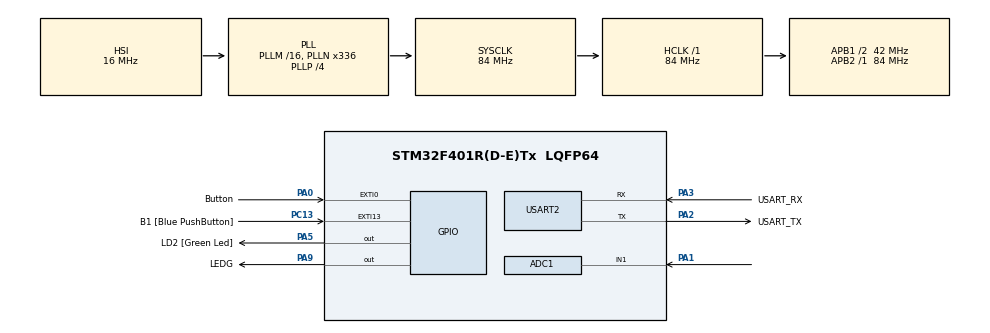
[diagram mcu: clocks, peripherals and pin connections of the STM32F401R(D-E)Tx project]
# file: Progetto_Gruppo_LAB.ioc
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ADC1.Channel-1\#ChannelRegularConversion=ADC_CHANNEL_1
ADC1.ContinuousConvMode=ENABLE
ADC1.NbrOfConversionFlag=1
ADC1.Rank-1\#ChannelRegularConversion=1
ADC1.SamplingTime-1\#ChannelRegularConversion=ADC_SAMPLETIME_3CYCLES
ADC1.master=1
Mcu.Family=STM32F4
Mcu.Name=STM32F401R(D-E)Tx
Mcu.Package=LQFP64
NVIC.EXTI0_IRQn=true\:0\:0\:false\:false\:true\:true\:true\:true
NVIC.PriorityGroup=NVIC_PRIORITYGROUP_0
NVIC.TIM2_IRQn=true\:0\:0\:false\:false\:true\:true\:true\:true
NVIC.TIM3_IRQn=true\:0\:0\:false\:false\:true\:true\:true\:true
PA0-WKUP.GPIO_Label=Button
PA0-WKUP.Signal=GPXTI0
PA1.Signal=ADCx_IN1
PA13.GPIO_Label=TMS
PA13.Signal=SYS_JTMS-SWDIO
PA14.GPIO_Label=TCK
PA14.Signal=SYS_JTCK-SWCLK
PA2.GPIO_Label=USART_TX
PA2.GPIO_Mode=GPIO_MODE_AF_PP
PA2.GPIO_PuPd=GPIO_NOPULL
PA2.GPIO_Speed=GPIO_SPEED_FREQ_LOW
PA2.Mode=Asynchronous
PA2.Signal=USART2_TX
PA3.GPIO_Label=USART_RX
PA3.GPIO_Mode=GPIO_MODE_AF_PP
PA3.GPIO_PuPd=GPIO_NOPULL
PA3.GPIO_Speed=GPIO_SPEED_FREQ_LOW
PA3.Mode=Asynchronous
PA3.Signal=USART2_RX
PA5.GPIO_Label=LD2 [Green Led]
PA5.GPIO_Mode=GPIO_MODE_OUTPUT_PP
PA5.GPIO_PuPd=GPIO_NOPULL
PA5.GPIO_Speed=GPIO_SPEED_FREQ_LOW
PA5.Signal=GPIO_Output
PA9.GPIO_Label=LEDG
PA9.Signal=GPIO_Output
PB3.GPIO_Label=SWO
PB3.Signal=SYS_JTDO-SWO
PC13-ANTI_TAMP.GPIO_Label=B1 [Blue PushButton]
PC13-ANTI_TAMP.GPIO_ModeDefaultEXTI=GPIO_MODE_IT_FALLING
PC13-ANTI_TAMP.GPIO_PuPd=GPIO_NOPULL
PC13-ANTI_TAMP.Signal=GPXTI13
PC14-OSC32_IN.Mode=LSE-External-Oscillator
PC14-OSC32_IN.Signal=RCC_OSC32_IN
PC15-OSC32_OUT.Mode=LSE-External-Oscillator
PC15-OSC32_OUT.Signal=RCC_OSC32_OUT
PH0\ -\ OSC_IN.Mode=HSE-External-Oscillator
PH0\ -\ OSC_IN.Signal=RCC_OSC_IN
PH1\ -\ OSC_OUT.Mode=HSE-External-Oscillator
PH1\ -\ OSC_OUT.Signal=RCC_OSC_OUT
ProjectManager.HeapSize=0x200
ProjectManager.StackSize=0x400
ProjectManager.TargetToolchain=STM32CubeIDE
RCC.AHBFreq_Value=84000000
RCC.APB1CLKDivider=RCC_HCLK_DIV2
RCC.APB1Freq_Value=42000000
RCC.APB1TimFreq_Value=84000000
RCC.APB2Freq_Value=84000000
RCC.APB2TimFreq_Value=84000000
RCC.CortexFreq_Value=84000000
RCC.HCLKFreq_Value=84000000
RCC.HSE_VALUE=8000000
RCC.HSI_VALUE=16000000
RCC.PLLN=336
RCC.PLLP=RCC_PLLP_DIV4
RCC.PLLQ=7
RCC.SYSCLKFreq_VALUE=84000000
RCC.SYSCLKSource=RCC_SYSCLKSOURCE_PLLCLK
RCC.VCOOutputFreq_Value=336000000
SH.ADCx_IN1.0=ADC1_IN1,IN1
TIM2.AutoReloadPreload=TIM_AUTORELOAD_PRELOAD_DISABLE
TIM2.Period=16799
TIM2.Prescaler=9999
TIM3.AutoReloadPreload=TIM_AUTORELOAD_PRELOAD_DISABLE
TIM3.Period=25199
TIM3.Prescaler=9999
TIM4.Prescaler=9999
USART2.VirtualMode=VM_ASYNC
VP_TIM2_VS_ClockSourceINT.Mode=Internal
VP_TIM3_VS_ClockSourceINT.Mode=Internal
VP_TIM4_VS_ClockSourceINT.Mode=Internal
board=NUCLEO-F401RE

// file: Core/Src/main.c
/* USER CODE BEGIN Header */
/**
 ******************************************************************************
 * @file           : main.c
 * @brief          : Main program body
 ******************************************************************************
 * @attention
 *
 * Copyright (c) 2025 STMicroelectronics.
 * All rights reserved.
 *
 * This software is licensed under terms that can be found in the LICENSE file
 * in the root directory of this software component.
 * If no LICENSE file comes with this software, it is provided AS-IS.
 *
 ******************************************************************************
 */
/* USER CODE END Header */
#include "main.h"

/* USER CODE BEGIN Includes */
#include "stdlib.h"
#include "string.h"
#include "stdio.h"
#include "stm32f4xx_it.h"
#include "math.h"
/* USER CODE END Includes */

ADC_HandleTypeDef hadc1;

TIM_HandleTypeDef htim2;
TIM_HandleTypeDef htim3;
TIM_HandleTypeDef htim4;

UART_HandleTypeDef huart2;

/* USER CODE BEGIN PV */
char bufferTx[200] = "";
uint8_t a = 0;
float timeout1 = 1;
float CP1 = 8399;
float PSC1 = 9999;
uint32_t risultati[5] = {0};
uint8_t vittoria = 0;
unsigned int uiAnalogData = 0;
double sogliams = 0;;
double punteggio = 0;
double somma = 0;
/* USER CODE END PV */

void SystemClock_Config(void);
static void MX_GPIO_Init(void);
static void MX_TIM2_Init(void);
static void MX_ADC1_Init(void);
static void MX_USART2_UART_Init(void);
static void MX_TIM3_Init(void);
static void MX_TIM4_Init(void);

int main(void)
{

  /* MCU Configuration--------------------------------------------------------*/

  /* Reset of all peripherals, Initializes the Flash interface and the Systick. */
  HAL_Init();

  /* Configure the system clock */
  SystemClock_Config();

  /* Initialize all configured peripherals */
  MX_GPIO_Init();
  MX_TIM2_Init();
  MX_ADC1_Init();
  MX_USART2_UART_Init();
  MX_TIM3_Init();
  MX_TIM4_Init();
  /* USER CODE BEGIN 2 */

	if (__HAL_PWR_GET_FLAG(PWR_FLAG_SB) != RESET)
	{
		__HAL_PWR_CLEAR_FLAG(PWR_FLAG_SB);  // clear the flag

		/** ESCO DALLA MODALITA' STANDBY **/
		sprintf(bufferTx, "Avvio, LD2 lampeggerà dopodichè inizierà la prova.\r\n");
		HAL_UART_Transmit(&huart2, (uint8_t *)bufferTx, strlen (bufferTx), 1000);

		/** Blink the LED **/
		for (int i=0; i<20; i++)
		{
			HAL_GPIO_TogglePin(GPIOA, GPIO_PIN_5);
			HAL_Delay(200);
		}

		/** DISABILITO IL WAKEUP PIN **/
		HAL_PWR_DisableWakeUpPin(PWR_WAKEUP_PIN1);  // disable PA0

	}
	HAL_TIM_Base_Start_IT(&htim2);
	HAL_TIM_Base_Start_IT(&htim4);

	HAL_GPIO_WritePin(LEDG_GPIO_Port, LEDG_Pin, GPIO_PIN_RESET); // resetto il LED a "spento"
	srand(HAL_GetTick()); // seed random

	HAL_ADC_Start(&hadc1);
	HAL_ADC_PollForConversion(&hadc1, 100);  // ACQUISISCO DAL PIN PA1 E USO IL VALORE IN DIGITALE PER IMPOSTARE LA SOGLIA DI DIFFICOLTA'
	uiAnalogData = HAL_ADC_GetValue(&hadc1);
	HAL_ADC_Stop(&hadc1);

	if(uiAnalogData > 3000){
		sprintf(bufferTx, "Difficoltà selezionata: ALTA\r\n");
		HAL_UART_Transmit(&huart2, (uint8_t *)bufferTx, strlen(bufferTx), 1000);
		sogliams = 250;
	}
	else if (uiAnalogData > 1300){
		sprintf(bufferTx, "Difficoltà selezionata: MEDIA\r\n");
		HAL_UART_Transmit(&huart2, (uint8_t *)bufferTx, strlen(bufferTx), 1000);
		sogliams = 400;
	}
	else {
		sprintf(bufferTx, "Difficoltà selezionata: BASSA\r\n");
		HAL_UART_Transmit(&huart2, (uint8_t *)bufferTx, strlen(bufferTx), 1000);
		sogliams = 800;
	}

  /* USER CODE END 2 */

  /* Infinite loop */
  /* USER CODE BEGIN WHILE */
	while (1)
	{

		sprintf(bufferTx, "Sessione iniziata! \r\n");
		HAL_UART_Transmit(&huart2, (uint8_t *)bufferTx, strlen(bufferTx), 100);

		// Entra in sleep e si sveglia con interrupt timer2, timer3 o interrupt esterno sul pin PA10
		HAL_SuspendTick();
		HAL_PWR_EnableSleepOnExit();
		HAL_PWR_EnterSLEEPMode(PWR_MAINREGULATOR_ON, PWR_SLEEPENTRY_WFI);

		// se si supera il timeout di 3 secondi, si completa la prova o si preme il pulsante troppo presto
		// ci si sveglia permanentemente dalla modalità sleep e si esegue un codice comune ai 3 casi mandando in STANDBY il dispositivo
		HAL_ResumeTick();
		sprintf(bufferTx, "Sessione terminata, vado in standby.\r\n");
		HAL_UART_Transmit(&huart2, (uint8_t *)bufferTx, strlen(bufferTx), 100);

		if(vittoria == 1){
			for (int i = 0; i < 5; i++)
			{
				sprintf(bufferTx, "Tempo %u° prova = %lu ms\r\n", i+1, risultati[i]);
				HAL_UART_Transmit(&huart2, (uint8_t*)bufferTx, strlen(bufferTx), 100);

			}

			sprintf(bufferTx, "Media = %2.2f ms.\r\n", somma/5);
			HAL_UART_Transmit(&huart2, (uint8_t *)bufferTx, strlen(bufferTx), 100);

			sprintf(bufferTx, "Hai ottenuto un punteggio totale di: %d. \r\n",(int)round(punteggio));
			HAL_UART_Transmit(&huart2, (uint8_t*)bufferTx, strlen(bufferTx), 100);
		}

		HAL_PWR_EnableWakeUpPin(PWR_WAKEUP_PIN1);

		__HAL_PWR_CLEAR_FLAG(PWR_FLAG_WU);

		HAL_PWR_EnterSTANDBYMode();

    /* USER CODE END WHILE */

	}
}

void SystemClock_Config(void)
{
  RCC_OscInitTypeDef RCC_OscInitStruct = {0};
  RCC_ClkInitTypeDef RCC_ClkInitStruct = {0};

  /** Configure the main internal regulator output voltage
  */
  __HAL_RCC_PWR_CLK_ENABLE();
  __HAL_PWR_VOLTAGESCALING_CONFIG(PWR_REGULATOR_VOLTAGE_SCALE2);

  /** Initializes the RCC Oscillators according to the specified parameters
  * in the RCC_OscInitTypeDef structure.
  */
  RCC_OscInitStruct.OscillatorType = RCC_OSCILLATORTYPE_HSI;
  RCC_OscInitStruct.HSIState = RCC_HSI_ON;
  RCC_OscInitStruct.HSICalibrationValue = RCC_HSICALIBRATION_DEFAULT;
  RCC_OscInitStruct.PLL.PLLState = RCC_PLL_ON;
  RCC_OscInitStruct.PLL.PLLSource = RCC_PLLSOURCE_HSI;
  RCC_OscInitStruct.PLL.PLLM = 16;
  RCC_OscInitStruct.PLL.PLLN = 336;
  RCC_OscInitStruct.PLL.PLLP = RCC_PLLP_DIV4;
  RCC_OscInitStruct.PLL.PLLQ = 7;
  if (HAL_RCC_OscConfig(&RCC_OscInitStruct) != HAL_OK)
  {
    Error_Handler();
  }

  /** Initializes the CPU, AHB and APB buses clocks
  */
  RCC_ClkInitStruct.ClockType = RCC_CLOCKTYPE_HCLK|RCC_CLOCKTYPE_SYSCLK
                              |RCC_CLOCKTYPE_PCLK1|RCC_CLOCKTYPE_PCLK2;
  RCC_ClkInitStruct.SYSCLKSource = RCC_SYSCLKSOURCE_PLLCLK;
  RCC_ClkInitStruct.AHBCLKDivider = RCC_SYSCLK_DIV1;
  RCC_ClkInitStruct.APB1CLKDivider = RCC_HCLK_DIV2;
  RCC_ClkInitStruct.APB2CLKDivider = RCC_HCLK_DIV1;

  if (HAL_RCC_ClockConfig(&RCC_ClkInitStruct, FLASH_LATENCY_2) != HAL_OK)
  {
    Error_Handler();
  }
}

static void MX_ADC1_Init(void)
{

  ADC_ChannelConfTypeDef sConfig = {0};

  /** Configure the global features of the ADC (Clock, Resolution, Data Alignment and number of conversion)
  */
  hadc1.Instance = ADC1;
  hadc1.Init.ClockPrescaler = ADC_CLOCK_SYNC_PCLK_DIV4;
  hadc1.Init.Resolution = ADC_RESOLUTION_12B;
  hadc1.Init.ScanConvMode = DISABLE;
  hadc1.Init.ContinuousConvMode = ENABLE;
  hadc1.Init.DiscontinuousConvMode = DISABLE;
  hadc1.Init.ExternalTrigConvEdge = ADC_EXTERNALTRIGCONVEDGE_NONE;
  hadc1.Init.ExternalTrigConv = ADC_SOFTWARE_START;
  hadc1.Init.DataAlign = ADC_DATAALIGN_RIGHT;
  hadc1.Init.NbrOfConversion = 1;
  hadc1.Init.DMAContinuousRequests = DISABLE;
  hadc1.Init.EOCSelection = ADC_EOC_SINGLE_CONV;
  if (HAL_ADC_Init(&hadc1) != HAL_OK)
  {
    Error_Handler();
  }

  /** Configure for the selected ADC regular channel its corresponding rank in the sequencer and its sample time.
  */
  sConfig.Channel = ADC_CHANNEL_1;
  sConfig.Rank = 1;
  sConfig.SamplingTime = ADC_SAMPLETIME_3CYCLES;
  if (HAL_ADC_ConfigChannel(&hadc1, &sConfig) != HAL_OK)
  {
    Error_Handler();
  }

}

static void MX_TIM2_Init(void)
{

  TIM_ClockConfigTypeDef sClockSourceConfig = {0};
  TIM_MasterConfigTypeDef sMasterConfig = {0};

  htim2.Instance = TIM2;
  htim2.Init.Prescaler = 9999;
  htim2.Init.CounterMode = TIM_COUNTERMODE_UP;
  htim2.Init.Period = 16799;
  htim2.Init.ClockDivision = TIM_CLOCKDIVISION_DIV1;
  htim2.Init.AutoReloadPreload = TIM_AUTORELOAD_PRELOAD_DISABLE;
  if (HAL_TIM_Base_Init(&htim2) != HAL_OK)
  {
    Error_Handler();
  }
  sClockSourceConfig.ClockSource = TIM_CLOCKSOURCE_INTERNAL;
  if (HAL_TIM_ConfigClockSource(&htim2, &sClockSourceConfig) != HAL_OK)
  {
    Error_Handler();
  }
  sMasterConfig.MasterOutputTrigger = TIM_TRGO_RESET;
  sMasterConfig.MasterSlaveMode = TIM_MASTERSLAVEMODE_DISABLE;
  if (HAL_TIMEx_MasterConfigSynchronization(&htim2, &sMasterConfig) != HAL_OK)
  {
    Error_Handler();
  }

}

static void MX_TIM3_Init(void)
{

  TIM_ClockConfigTypeDef sClockSourceConfig = {0};
  TIM_MasterConfigTypeDef sMasterConfig = {0};

  htim3.Instance = TIM3;
  htim3.Init.Prescaler = 9999;
  htim3.Init.CounterMode = TIM_COUNTERMODE_UP;
  htim3.Init.Period = 25199;
  htim3.Init.ClockDivision = TIM_CLOCKDIVISION_DIV1;
  htim3.Init.AutoReloadPreload = TIM_AUTORELOAD_PRELOAD_DISABLE;
  if (HAL_TIM_Base_Init(&htim3) != HAL_OK)
  {
    Error_Handler();
  }
  sClockSourceConfig.ClockSource = TIM_CLOCKSOURCE_INTERNAL;
  if (HAL_TIM_ConfigClockSource(&htim3, &sClockSourceConfig) != HAL_OK)
  {
    Error_Handler();
  }
  sMasterConfig.MasterOutputTrigger = TIM_TRGO_RESET;
  sMasterConfig.MasterSlaveMode = TIM_MASTERSLAVEMODE_DISABLE;
  if (HAL_TIMEx_MasterConfigSynchronization(&htim3, &sMasterConfig) != HAL_OK)
  {
    Error_Handler();
  }

}

static void MX_TIM4_Init(void)
{

  TIM_ClockConfigTypeDef sClockSourceConfig = {0};
  TIM_MasterConfigTypeDef sMasterConfig = {0};

  htim4.Instance = TIM4;
  htim4.Init.Prescaler = 9999;
  htim4.Init.CounterMode = TIM_COUNTERMODE_UP;
  htim4.Init.Period = 65535;
  htim4.Init.ClockDivision = TIM_CLOCKDIVISION_DIV1;
  htim4.Init.AutoReloadPreload = TIM_AUTORELOAD_PRELOAD_DISABLE;
  if (HAL_TIM_Base_Init(&htim4) != HAL_OK)
  {
    Error_Handler();
  }
  sClockSourceConfig.ClockSource = TIM_CLOCKSOURCE_INTERNAL;
  if (HAL_TIM_ConfigClockSource(&htim4, &sClockSourceConfig) != HAL_OK)
  {
    Error_Handler();
  }
  sMasterConfig.MasterOutputTrigger = TIM_TRGO_RESET;
  sMasterConfig.MasterSlaveMode = TIM_MASTERSLAVEMODE_DISABLE;
  if (HAL_TIMEx_MasterConfigSynchronization(&htim4, &sMasterConfig) != HAL_OK)
  {
    Error_Handler();
  }

}

static void MX_USART2_UART_Init(void)
{

  huart2.Instance = USART2;
  huart2.Init.BaudRate = 115200;
  huart2.Init.WordLength = UART_WORDLENGTH_8B;
  huart2.Init.StopBits = UART_STOPBITS_1;
  huart2.Init.Parity = UART_PARITY_NONE;
  huart2.Init.Mode = UART_MODE_TX_RX;
  huart2.Init.HwFlowCtl = UART_HWCONTROL_NONE;
  huart2.Init.OverSampling = UART_OVERSAMPLING_16;
  if (HAL_UART_Init(&huart2) != HAL_OK)
  {
    Error_Handler();
  }

}

static void MX_GPIO_Init(void)
{
  GPIO_InitTypeDef GPIO_InitStruct = {0};

  /* GPIO Ports Clock Enable */
  __HAL_RCC_GPIOC_CLK_ENABLE();
  __HAL_RCC_GPIOH_CLK_ENABLE();
  __HAL_RCC_GPIOA_CLK_ENABLE();
  __HAL_RCC_GPIOB_CLK_ENABLE();

  /*Configure GPIO pin Output Level */
  HAL_GPIO_WritePin(GPIOA, LD2_Pin|LEDG_Pin, GPIO_PIN_RESET);

  /*Configure GPIO pin : B1_Pin */
  GPIO_InitStruct.Pin = B1_Pin;
  GPIO_InitStruct.Mode = GPIO_MODE_IT_FALLING;
  GPIO_InitStruct.Pull = GPIO_NOPULL;
  HAL_GPIO_Init(B1_GPIO_Port, &GPIO_InitStruct);

  /*Configure GPIO pin : Button_Pin */
  GPIO_InitStruct.Pin = Button_Pin;
  GPIO_InitStruct.Mode = GPIO_MODE_IT_RISING;
  GPIO_InitStruct.Pull = GPIO_NOPULL;
  HAL_GPIO_Init(Button_GPIO_Port, &GPIO_InitStruct);

  /*Configure GPIO pins : LD2_Pin LEDG_Pin */
  GPIO_InitStruct.Pin = LD2_Pin|LEDG_Pin;
  GPIO_InitStruct.Mode = GPIO_MODE_OUTPUT_PP;
  GPIO_InitStruct.Pull = GPIO_NOPULL;
  GPIO_InitStruct.Speed = GPIO_SPEED_FREQ_LOW;
  HAL_GPIO_Init(GPIOA, &GPIO_InitStruct);

  /* EXTI interrupt init*/
  HAL_NVIC_SetPriority(EXTI0_IRQn, 0, 0);
  HAL_NVIC_EnableIRQ(EXTI0_IRQn);

}

void Error_Handler(void)
{
	__disable_irq();
	while (1)
	{
	}
}
